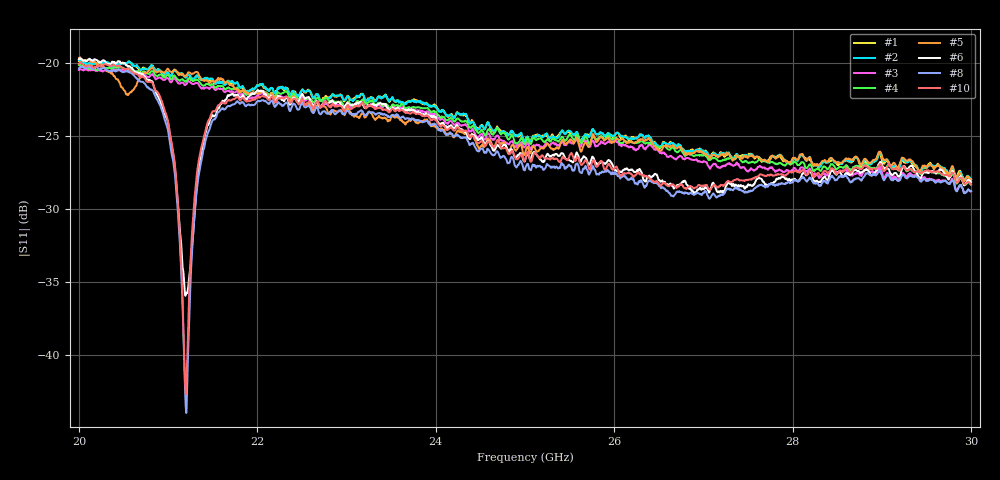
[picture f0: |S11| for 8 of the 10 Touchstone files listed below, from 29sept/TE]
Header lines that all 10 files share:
#  HZ  S  RI  R  50.00
! Rohde & Schwarz ZVA40 4Ports - Version 3.90 - 1145.1110k42 SN: 100403
! Measurement: S12
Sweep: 20 GHz to 30 GHz
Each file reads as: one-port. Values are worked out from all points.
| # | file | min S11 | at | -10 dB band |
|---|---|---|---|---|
| 1 | screen_15deg2.s1p | -28.0 dB | 29.93 GHz | over 10 GHz wide |
| 2 | screen_15deg.s1p | -28.0 dB | 29.92 GHz | over 10 GHz wide |
| 3 | screen_30deg.s1p | -28.9 dB | 29.92 GHz | over 10 GHz wide |
| 4 | screen_45deg.s1p | -28.4 dB | 29.93 GHz | over 10 GHz wide |
| 5 | struct_15deg_6A.s1p | -28.1 dB | 29.92 GHz | over 10 GHz wide |
| 6 | struct_15deg_inverse5V.s1p | -36.0 dB | 21.19 GHz | over 10 GHz wide |
| 7 | struct_30deg_6A.s1p | -28.9 dB | 29.92 GHz | over 10 GHz wide |
| 8 | struct_30deg_inverse5V.s1p | -44.0 dB | 21.2 GHz | over 10 GHz wide |
| 9 | struct_45deg_6A.s1p | -28.4 dB | 30 GHz | over 10 GHz wide |
| 10 | struct_45deg_inverse5V.s1p | -42.7 dB | 21.2 GHz | over 10 GHz wide |
